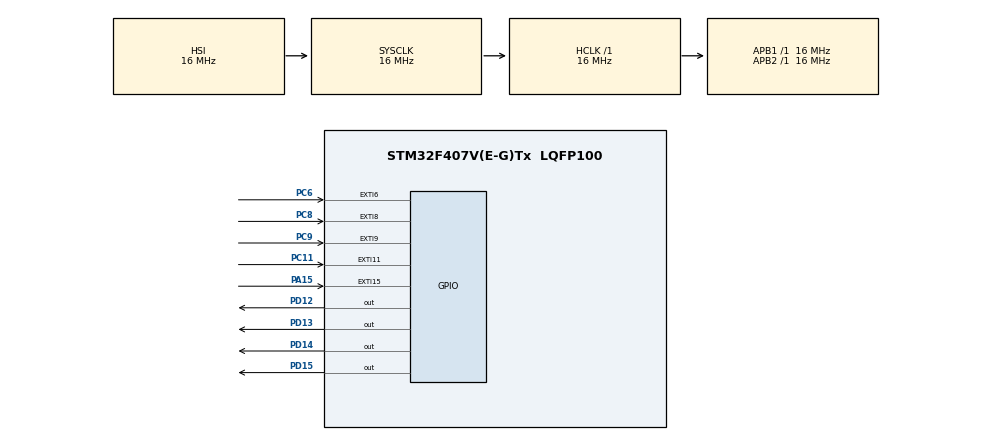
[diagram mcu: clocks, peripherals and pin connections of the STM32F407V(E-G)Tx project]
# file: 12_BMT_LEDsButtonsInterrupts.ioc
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Mcu.Family=STM32F4
Mcu.Name=STM32F407V(E-G)Tx
Mcu.Package=LQFP100
NVIC.EXTI15_10_IRQn=true\:0\:0\:false\:false\:true\:true\:true\:true
NVIC.EXTI9_5_IRQn=true\:0\:0\:false\:false\:true\:true\:true\:true
NVIC.PriorityGroup=NVIC_PRIORITYGROUP_4
PA15.GPIO_ModeDefaultEXTI=GPIO_MODE_IT_FALLING
PA15.Signal=GPXTI15
PC11.GPIO_ModeDefaultEXTI=GPIO_MODE_IT_FALLING
PC11.Signal=GPXTI11
PC6.GPIO_ModeDefaultEXTI=GPIO_MODE_IT_FALLING
PC6.GPIO_PuPd=GPIO_NOPULL
PC6.Signal=GPXTI6
PC8.GPIO_ModeDefaultEXTI=GPIO_MODE_IT_FALLING
PC8.Signal=GPXTI8
PC9.GPIO_ModeDefaultEXTI=GPIO_MODE_IT_FALLING
PC9.Signal=GPXTI9
PD12.Signal=GPIO_Output
PD13.Signal=GPIO_Output
PD14.Signal=GPIO_Output
PD15.Signal=GPIO_Output
ProjectManager.HeapSize=0x200
ProjectManager.StackSize=0x400
ProjectManager.TargetToolchain=STM32CubeIDE
RCC.AHBFreq_Value=16000000
RCC.APB1Freq_Value=16000000
RCC.APB2Freq_Value=16000000
RCC.CortexFreq_Value=16000000
RCC.HSE_VALUE=25000000
RCC.HSI_VALUE=16000000
RCC.LSE_VALUE=32768
RCC.SYSCLKFreq_VALUE=16000000
RCC.VCOOutputFreq_Value=192000000
board=custom

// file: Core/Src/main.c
/* USER CODE BEGIN Header */
/**
  ******************************************************************************
  * @file           : main.c
  * @brief          : Main program body
  ******************************************************************************
  * @attention
  *
  * Copyright (c) 2023 STMicroelectronics.
  * All rights reserved.
  *
  * This software is licensed under terms that can be found in the LICENSE file
  * in the root directory of this software component.
  * If no LICENSE file comes with this software, it is provided AS-IS.
  *
  ******************************************************************************
  */
/* USER CODE END Header */
#include "main.h"

/* USER CODE BEGIN Includes */
#include "modes.h"
/* USER CODE END Includes */

/* USER CODE BEGIN PM */

#define MAX_DELAY 4096
#define MIN_DELAY 32
#define MAX_MODE 3

/* USER CODE END PM */

/* USER CODE BEGIN PV */

uint32_t speed = 512;
uint8_t mode = 0;
uint8_t is_running = 1;
uint8_t is_mode_changed = 0;

/* USER CODE END PV */

void SystemClock_Config(void);
static void MX_GPIO_Init(void);

int main(void)
{

  /* MCU Configuration--------------------------------------------------------*/

  /* Reset of all peripherals, Initializes the Flash interface and the Systick. */
  HAL_Init();

  /* Configure the system clock */
  SystemClock_Config();

  /* Initialize all configured peripherals */
  MX_GPIO_Init();

  /* Infinite loop */
  /* USER CODE BEGIN WHILE */
  while (1)
  {
	  if (is_running == 0){
		  continue;
	  }
	  switch (mode)
	  {
	  case 0:
		  run_mode("G1D.G0D.O1D.O0D.R1D.R0D.B1D.B0D.");
		  break;
	  case 1:
		  run_mode("G1O1R1B1D.G0O0R0B0D.");
		  break;
	  case 2:
		  run_mode("R1D.O1D.G1D.B1D.R0D.O0D.G0D.B0D.");
		  break;
	  case 3:
		  run_mode("O1B1D.O0B0D.R1G1D.R0G0D.");
		  break;
	  default:
		  // in case of unknown mode
		  emergency_mode();
	  }

    /* USER CODE END WHILE */

  }
}

void SystemClock_Config(void)
{
  RCC_OscInitTypeDef RCC_OscInitStruct = {0};
  RCC_ClkInitTypeDef RCC_ClkInitStruct = {0};

  /** Configure the main internal regulator output voltage
  */
  __HAL_RCC_PWR_CLK_ENABLE();
  __HAL_PWR_VOLTAGESCALING_CONFIG(PWR_REGULATOR_VOLTAGE_SCALE1);

  /** Initializes the RCC Oscillators according to the specified parameters
  * in the RCC_OscInitTypeDef structure.
  */
  RCC_OscInitStruct.OscillatorType = RCC_OSCILLATORTYPE_HSI;
  RCC_OscInitStruct.HSIState = RCC_HSI_ON;
  RCC_OscInitStruct.HSICalibrationValue = RCC_HSICALIBRATION_DEFAULT;
  RCC_OscInitStruct.PLL.PLLState = RCC_PLL_NONE;
  if (HAL_RCC_OscConfig(&RCC_OscInitStruct) != HAL_OK)
  {
    Error_Handler();
  }

  /** Initializes the CPU, AHB and APB buses clocks
  */
  RCC_ClkInitStruct.ClockType = RCC_CLOCKTYPE_HCLK|RCC_CLOCKTYPE_SYSCLK
                              |RCC_CLOCKTYPE_PCLK1|RCC_CLOCKTYPE_PCLK2;
  RCC_ClkInitStruct.SYSCLKSource = RCC_SYSCLKSOURCE_HSI;
  RCC_ClkInitStruct.AHBCLKDivider = RCC_SYSCLK_DIV1;
  RCC_ClkInitStruct.APB1CLKDivider = RCC_HCLK_DIV1;
  RCC_ClkInitStruct.APB2CLKDivider = RCC_HCLK_DIV1;

  if (HAL_RCC_ClockConfig(&RCC_ClkInitStruct, FLASH_LATENCY_0) != HAL_OK)
  {
    Error_Handler();
  }
}

static void MX_GPIO_Init(void)
{
  GPIO_InitTypeDef GPIO_InitStruct = {0};

  /* GPIO Ports Clock Enable */
  __HAL_RCC_GPIOD_CLK_ENABLE();
  __HAL_RCC_GPIOC_CLK_ENABLE();
  __HAL_RCC_GPIOA_CLK_ENABLE();

  /*Configure GPIO pin Output Level */
  HAL_GPIO_WritePin(GPIOD, GPIO_PIN_12|GPIO_PIN_13|GPIO_PIN_14|GPIO_PIN_15, GPIO_PIN_RESET);

  /*Configure GPIO pins : PD12 PD13 PD14 PD15 */
  GPIO_InitStruct.Pin = GPIO_PIN_12|GPIO_PIN_13|GPIO_PIN_14|GPIO_PIN_15;
  GPIO_InitStruct.Mode = GPIO_MODE_OUTPUT_PP;
  GPIO_InitStruct.Pull = GPIO_NOPULL;
  GPIO_InitStruct.Speed = GPIO_SPEED_FREQ_LOW;
  HAL_GPIO_Init(GPIOD, &GPIO_InitStruct);

  /*Configure GPIO pins : PC6 PC8 PC9 PC11 */
  GPIO_InitStruct.Pin = GPIO_PIN_6|GPIO_PIN_8|GPIO_PIN_9|GPIO_PIN_11;
  GPIO_InitStruct.Mode = GPIO_MODE_IT_FALLING;
  GPIO_InitStruct.Pull = GPIO_NOPULL;
  HAL_GPIO_Init(GPIOC, &GPIO_InitStruct);

  /*Configure GPIO pin : PA15 */
  GPIO_InitStruct.Pin = GPIO_PIN_15;
  GPIO_InitStruct.Mode = GPIO_MODE_IT_FALLING;
  GPIO_InitStruct.Pull = GPIO_NOPULL;
  HAL_GPIO_Init(GPIOA, &GPIO_InitStruct);

  /* EXTI interrupt init*/
  HAL_NVIC_SetPriority(EXTI9_5_IRQn, 0, 0);
  HAL_NVIC_EnableIRQ(EXTI9_5_IRQn);

  HAL_NVIC_SetPriority(EXTI15_10_IRQn, 0, 0);
  HAL_NVIC_EnableIRQ(EXTI15_10_IRQn);

}

/* USER CODE BEGIN 4 */
void HAL_GPIO_EXTI_Callback(uint16_t GPIO_Pin)
{
	switch (GPIO_Pin){
	case GPIO_PIN_6:
		// speed up blinking
		if (speed > MIN_DELAY){
			// min delay = 32ms
			speed /= 2;
		}
		break;
	case GPIO_PIN_8:
		// slow down blinking
		if (speed < MAX_DELAY){
			// max delay ~ 4s
			speed *= 2;
		}
		break;
	case GPIO_PIN_9:
		if (mode > 0){
			turn_off_leds();
			mode -= 1;
			is_mode_changed = 1;
		}
		break;
	case GPIO_PIN_11:
		if (mode < MAX_MODE){
			turn_off_leds();
			mode += 1;
			is_mode_changed = 1;
		}
		break;
	case GPIO_PIN_15:
		// toggle the status of the program
		if (is_running == 1){
			// turn off the program
			is_running = 0;
			is_mode_changed = 1;
		} else {
			//turn on the program
			is_running = 1;
		}
		break;
	}
}

/* USER CODE END 4 */

void Error_Handler(void)
{
  __disable_irq();
  while (1)
  {
  }
}
